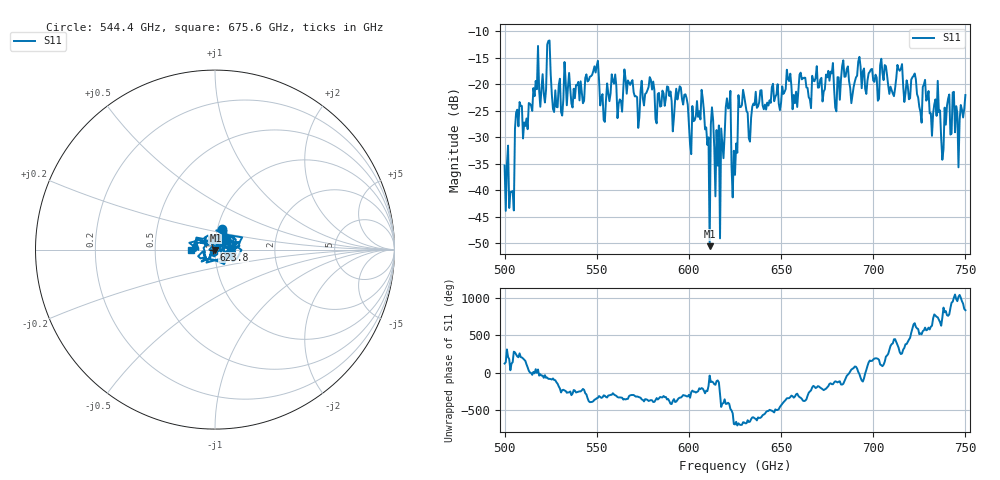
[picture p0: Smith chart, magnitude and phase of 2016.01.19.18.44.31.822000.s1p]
!Created with skrf (http://scikit-rf.org).
# GHz S RI R 50.0
!freq ReS11 ImS11
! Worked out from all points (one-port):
!   401 points, 500 GHz to 750 GHz, reference 50 ohm
!   lowest |S11| = -50.5 dB at 611.2 GHz (marker M1), VSWR 1.01, Z = 50.2 - j0.18 ohm
!   |S11| at or under -10 dB: start of sweep to end of sweep
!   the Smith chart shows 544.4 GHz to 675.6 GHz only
!   S11 on the Smith chart (normalised r, x): 544.4 GHz: 1.06, +0.25; 623.8 GHz: 0.98, +0.00; 675.6 GHz: 0.76, -0.00
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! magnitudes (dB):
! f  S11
! 500 GHz  -35.3
! 503.8 GHz  -40.3
! 507.5 GHz  -27.9
! 511.2 GHz  -27.9
! 523.8 GHz  -11.8
! 526.9 GHz  -25.2
! 531.2 GHz  -25.9
! 544.4 GHz  -18.1
! 562.5 GHz  -22.9
! 566.2 GHz  -21.8
! 593.8 GHz  -22.9
! 601.2 GHz  -33.2
! 606.9 GHz  -21.1
! 611.2 GHz  -50.5
! 618.1 GHz  -31.1
! 621.2 GHz  -24.6
! 623.8 GHz  -41.3
! 625 GHz  -37.1
! 628.1 GHz  -24.3
! 632.5 GHz  -30.2
! 656.2 GHz  -24.7
! 675.6 GHz  -17.5
! 687.5 GHz  -20.7
! 718.8 GHz  -20.4
! 735 GHz  -19.4
! 738.1 GHz  -32.3
! 740 GHz  -24.1
! 750 GHz  -22.0
